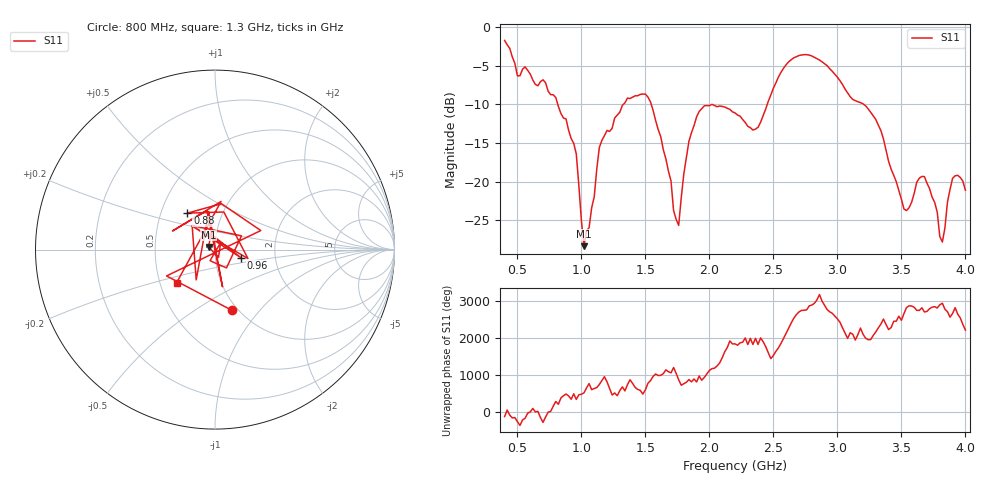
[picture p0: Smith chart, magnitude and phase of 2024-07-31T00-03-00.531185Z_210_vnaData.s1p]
!Created with skrf (http://scikit-rf.org).
# Hz S RI R 50.0
!freq ReS11 ImS11
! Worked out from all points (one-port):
!   181 points, 400 MHz to 4 GHz, reference 50 ohm
!   lowest |S11| = -28.4 dB at 1.02 GHz (marker M1), VSWR 1.08, Z = 46.6 + j1.33 ohm
!   |S11| at or under -10 dB: 815.6 MHz to 1.327 GHz (511.5 MHz wide, 47.7 % of centre); 1.546 GHz to 2.018 GHz (471.6 MHz wide, 26.5 % of centre); 3.207 GHz to end of sweep (the widest 3 of 4)
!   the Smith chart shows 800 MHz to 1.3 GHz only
!   S11 on the Smith chart (normalised r, x): 800 MHz: 0.94, -0.72; 880 MHz: 0.68, +0.30; 960 MHz: 1.33, -0.12; 1.3 GHz: 0.61, -0.24
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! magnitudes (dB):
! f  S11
! 400 MHz  -1.7
! 500 MHz  -6.3
! 560 MHz  -5.1
! 800 MHz  -9.1
! 860 MHz  -11.8
! 880 MHz  -11.9
! 960 MHz  -16.4
! 1.02 GHz  -28.4
! 1.1 GHz  -22.0
! 1.14 GHz  -15.6
! 1.3 GHz  -11.0
! 1.54 GHz  -9.7
! 1.76 GHz  -25.7
! 1.84 GHz  -14.8
! 1.92 GHz  -10.9
! 2.2 GHz  -11.1
! 2.38 GHz  -13.0
! 2.66 GHz  -3.9
! 2.86 GHz  -4.2
! 3.1 GHz  -9.0
! 3.3 GHz  -11.9
! 3.52 GHz  -23.6
! 3.56 GHz  -23.4
! 3.68 GHz  -19.4
! 3.76 GHz  -22.7
! 3.82 GHz  -27.8
! 3.9 GHz  -19.6
! 4 GHz  -21.1
